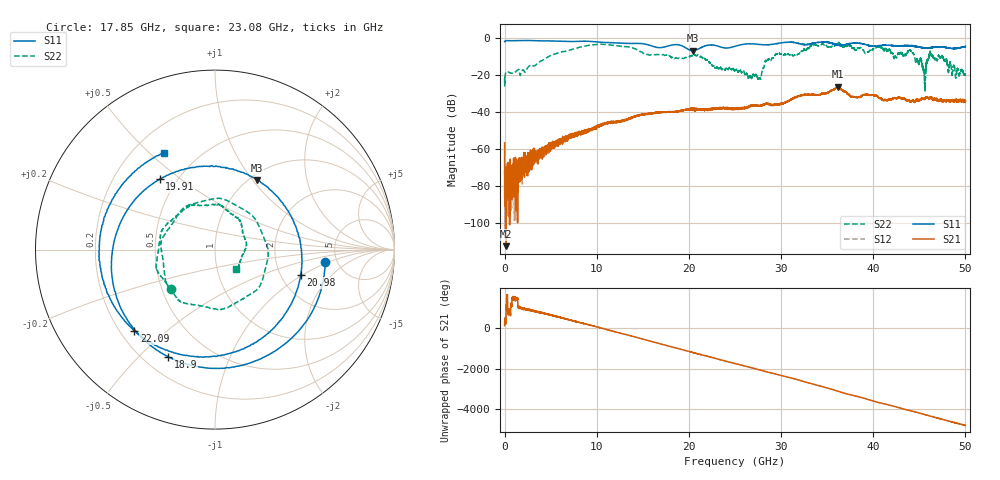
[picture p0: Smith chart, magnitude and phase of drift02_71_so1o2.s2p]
!Created with skrf (http://scikit-rf.org).
# Hz S RI R 50.0
!freq ReS11 ImS11 ReS21 ImS21 ReS12 ImS12 ReS22 ImS22
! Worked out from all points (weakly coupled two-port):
!   10001 points, 300 kHz to 50 GHz, reference 50 ohm
!   highest |S21| = -26.28 dB at 36.14 GHz (marker M1); lowest = -112.6 dB at 180.3 MHz (marker M2)
!   lowest |S11| = -6.9 dB at 20.41 GHz (marker M3), VSWR 2.64, Z = 54 + j52.4 ohm
!   |S11| at or under -10 dB: nowhere
!   |S22| runs from -28.7 to -2.3 dB; largest |S21 - S12| = 0.0054
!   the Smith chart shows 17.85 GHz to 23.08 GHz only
!   S11 on the Smith chart (normalised r, x): 17.85 GHz: 4.02, -0.88; 18.9 GHz: 0.30, -0.62; 19.91 GHz: 0.40, +0.42; 20.98 GHz: 2.56, -0.97; 22.09 GHz: 0.26, -0.39; 23.08 GHz: 0.32, +0.56
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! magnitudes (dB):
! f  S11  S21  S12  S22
! 300 kHz  -2.0  -56.8  -71.1  -21.5
! 180.3 MHz  -1.4  -112.6  -79.8  -18.4
! 8.335 GHz  -1.7  -51.0  -50.8  -4.7
! 16.67 GHz  -5.2  -40.2  -40.3  -9.0
! 17.85 GHz  -4.2  -39.9  -40.1  -9.6
! 18.9 GHz  -3.7  -39.6  -39.7  -10.9
! 19.91 GHz  -6.0  -38.6  -38.6  -9.9
! 20.41 GHz  -6.9  -38.4  -38.4  -9.8
! 20.98 GHz  -6.1  -38.5  -38.5  -9.3
! 22.09 GHz  -3.9  -39.0  -38.8  -12.4
! 23.08 GHz  -4.3  -37.9  -37.8  -15.9
! 25 GHz  -4.5  -38.4  -38.6  -17.8
! 27.63 GHz  -3.5  -36.8  -36.5  -21.6
! 28.43 GHz  -3.7  -35.3  -35.7  -12.3
! 29.54 GHz  -3.0  -36.1  -36.0  -8.9
! 33.34 GHz  -3.1  -30.7  -30.5  -3.8
! 36.14 GHz  -3.8  -26.3  -27.0  -3.3
! 41.67 GHz  -4.0  -33.4  -33.4  -6.3
! 44.12 GHz  -4.2  -34.4  -34.3  -7.0
! 45.5 GHz  -5.4  -32.8  -33.2  -17.6
! 46.27 GHz  -5.2  -32.1  -32.3  -9.6
! 50 GHz  -4.6  -34.1  -34.1  -20.3
